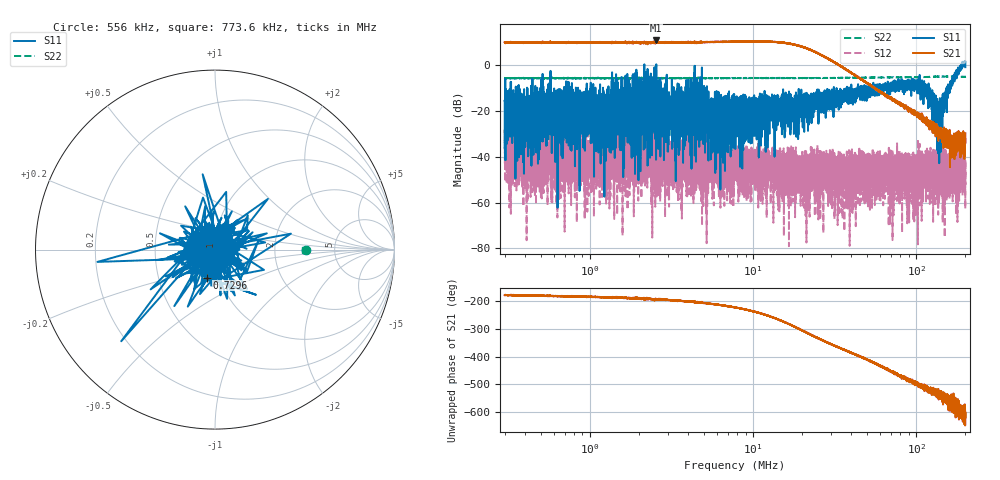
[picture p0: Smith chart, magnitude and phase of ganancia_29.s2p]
# Hz S DB R 50
! CMT, M5065, 19127446, 24.2.4/2
! Date: 11/1/2024 4:32:00 PM
! Data: Format (Calibration Info)
! Freq	S11:dB/Ang(F2)	S21:dB/Ang(F2)	S12:dB/Ang(F2)	S22:dB/Ang(F2)
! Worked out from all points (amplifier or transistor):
!   9000 points, 300 kHz to 200 MHz, reference 50 ohm
!   highest |S21| = 10.5 dB at 2.55 MHz (marker M1)
!   |S21| within 3 dB of that: start of sweep to 20.39 MHz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
!   unconditionally stable (mu >= 1): start of sweep to 2.154 MHz; 2.551 MHz to 189.5 MHz; 189.7 MHz to 190.7 MHz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
!   at 886.8 kHz: K = 12.07, MAG = 11.0 dB, |S12| = -40.0 dB
!   at 7.749 MHz: K = 10.20, MAG = 11.5 dB, |S12| = -39.1 dB
!   at 200 MHz: K = 1009.56, MAG = -21.9 dB, |S12| = -52.2 dB
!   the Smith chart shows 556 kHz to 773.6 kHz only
!   S11 on the Smith chart (normalised r, x): 556 kHz: 1.06, +0.23; 729.6 kHz: 0.87, -0.28; 773.6 kHz: 0.70, -0.04
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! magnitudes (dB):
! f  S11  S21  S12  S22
! 300 kHz  -15.6  9.7  -30.6  -5.8
! 310.8 kHz  -16.5  9.5  -32.8  -5.8
! 338.5 kHz  -16.7  9.6  -42.7  -5.9
! 556 kHz  -18.9  9.6  -50.3  -5.9
! 729.6 kHz  -15.8  9.7  -41.5  -5.9
! 773.6 kHz  -15.0  9.8  -33.9  -6.0
! 886.8 kHz  -19.0  9.6  -40.0  -5.9
! 1.896 MHz  -11.2  9.5  -46.4  -5.9
! 2.065 MHz  -15.5  9.5  -34.0  -5.8
! 2.55 MHz  0.2  10.5  -34.2  -5.9
! 2.621 MHz  -22.0  9.5  -42.6  -5.9
! 3.564 MHz  -30.3  9.6  -31.4  -6.0
! 4.636 MHz  -13.1  9.8  -40.5  -6.0
! 5.272 MHz  -15.1  9.9  -43.9  -5.9
! 7.749 MHz  -16.2  10.0  -39.1  -5.8
! 22.91 MHz  -17.8  6.1  -54.7  -5.8
! 67.71 MHz  -9.6  -13.9  -44.0  -5.5
! 111.7 MHz  -7.1  -24.0  -45.2  -5.4
! 137.9 MHz  -24.0  -28.1  -44.9  -5.2
! 165.3 MHz  -9.0  -31.4  -51.7  -5.2
! 188 MHz  -1.3  -33.3  -46.3  -5.3
! 200 MHz  -1.1  -29.9  -52.2  -5.3
